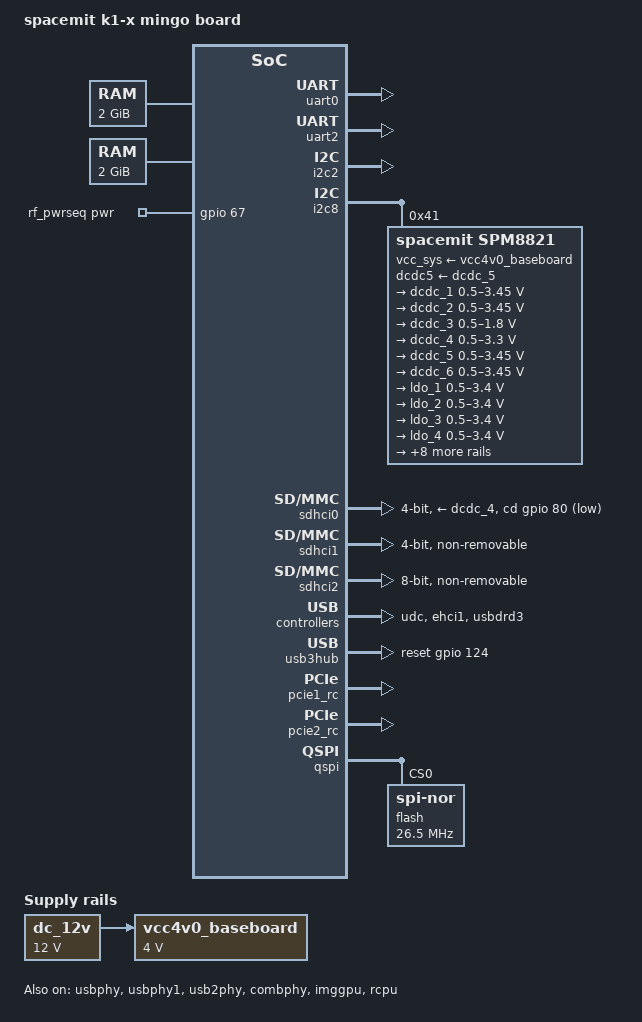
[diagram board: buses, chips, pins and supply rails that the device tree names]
// SPDX-License-Identifier: (GPL-2.0 OR MIT)
/* Copyright (c) 2023 Spacemit, Inc */

/dts-v1/;

#include "k1-x.dtsi"
#include "k1-x_pinctrl.dtsi"

/ {
	model = "spacemit k1-x mingo board";

	cpus: cpus {
		#address-cells = <1>;
		#size-cells = <0>;
		timebase-frequency = <24000000>;

		cpu_0: cpu@0 {
			cpu-ai = "true";
		};

		cpu_1: cpu@1 {
			cpu-ai = "true";
		};

		cpu_2: cpu@2 {
			reg = <2>;
			cpu-ai = "true";
		};

		cpu_3: cpu@3 {
			reg = <3>;
			cpu-ai = "true";
		};

		cpu-map {
			cluster0 {
				core0 {
					cpu = <&cpu_0>;
				};

				core1 {
					cpu = <&cpu_1>;
				};

				core2 {
					cpu = <&cpu_2>;
				};

				core3 {
					cpu = <&cpu_3>;
				};
			};

			cluster1 {
				core0 {
					cpu = <&cpu_4>;
				};

				core1 {
					cpu = <&cpu_5>;
				};

				core2 {
					cpu = <&cpu_6>;
				};

				core3 {
					cpu = <&cpu_7>;
				};
			};
		};
	};

	memory@0 {
		device_type = "memory";
		reg = <0x0 0x00000000 0x0 0x80000000>;
	};

	memory@100000000 {
		device_type = "memory";
		reg = <0x1 0x00000000 0x0 0x80000000>;
	};

	reserved-memory {
		#address-cells = <2>;
		#size-cells = <2>;
		ranges;

		linux,cma {
			compatible = "shared-dma-pool";
			/* alloc memory from 0x40000000~0x80000000 */
			alloc-ranges = <0 0x40000000 0 0x40000000>;
			/* size of cma buffer is 384MByte */
			size = <0 0x18000000>;
			/* start address is 1Mbyte aligned */
			alignment = <0x0 0x100000>;
			linux,cma-default;
			/* besides hardware, dma for ex. buffer can be used by memory management */
			reusable;
		};

		/* reserved 384K for dpu, including mmu table(256K) and cmdlist(128K) */
		dpu_resv: dpu_reserved@2ff40000 {
			compatible = "shared-dma-pool";
			reg = <0x0 0x2ff40000 0x0 0x000C0000>;
			no-map;
		};
	};

	chosen {
		bootargs = "earlycon=sbi console=ttyS0,115200n8 debug loglevel=8,initcall_debug=1 rdinit=/init";
		stdout-path = "serial0:115200n8";
	};

	dc_12v: dc-12v {
		compatible = "regulator-fixed";
		regulator-name = "dc_12v";
		regulator-always-on;
		regulator-boot-on;
		regulator-min-microvolt = <12000000>;
		regulator-max-microvolt = <12000000>;
	};

	vcc4v0_baseboard: vcc4v0-baseboard {
		compatible = "regulator-fixed";
		regulator-name = "vcc4v0_baseboard";
		regulator-always-on;
		regulator-boot-on;
		regulator-min-microvolt = <4000000>;
		regulator-max-microvolt = <4000000>;
		vin-supply = <&dc_12v>;
	};

	rf_pwrseq: rf-pwrseq {
		compatible = "spacemit,rf-pwrseq";
		//vdd-supply = <&ldo_7>;
		//vdd_voltage = <3300000>;
		io-supply = <&dcdc_3>;
		io_voltage = <1800000>;
		pwr-gpios  = <&gpio 67 0>;
		power-always-on;
		status = "okay";

		wlan_pwrseq: wlan-pwrseq {
			compatible = "spacemit,wlan-pwrseq";
			regon-gpios     = <&gpio 116 0>;
			hostwake-gpios  = <&gpio 66 0>;
		};

		bt_pwrseq: bt-pwrseq {
			compatible = "spacemit,bt-pwrseq";
			reset-gpios     = <&gpio 63 0>;
		};
	};
};

&uart0 {
	pinctrl-names = "default";
	pinctrl-0 = <&pinctrl_uart0_2>;
	status = "okay";
};

&uart2 {
	pinctrl-names = "default";
	pinctrl-0 = <&pinctrl_uart2>;
	status = "okay";
};

&i2c2 {
	pinctrl-names = "default";
	pinctrl-0 = <&pinctrl_i2c2_0>;
	status = "okay";

	eeprom@50{
		compatible = "atmel,24c02";
		reg = <0x50>;
		#address-cells = <1>;
		#size-cells = <1>;

		power-domains = <&power K1X_PMU_DUMMY_PWR_DOMAIN>;
		status = "disabled";

		mac_address0: mac_address0@0 {
			reg = <0x0 6>;
		};

		mac_address1: mac_address1@6 {
			reg = <0x6 6>;
		};
	};
};

&i2c8 {
	pinctrl-names = "default";
	pinctrl-0 = <&pinctrl_i2c8>;
	status = "okay";

	spm8821@41 {
		compatible = "spacemit,spm8821";
		reg = <0x41>;
		interrupt-parent = <&intc>;
		interrupts = <64>;
		status = "okay";

		vcc_sys-supply = <&vcc4v0_baseboard>;
		dcdc5-supply = <&dcdc_5>;

		regulators {
			compatible = "pmic,regulator,spm8821";

			/* buck */
			dcdc_1: DCDC_REG1 {
				regulator-name = "dcdc1";
				regulator-min-microvolt = <500000>;
				regulator-max-microvolt = <3450000>;
				regulator-always-on;
			};

			dcdc_2: DCDC_REG2 {
				regulator-name = "dcdc2";
				regulator-min-microvolt = <500000>;
				regulator-max-microvolt = <3450000>;
				regulator-always-on;
			};

			dcdc_3: DCDC_REG3 {
				regulator-name = "dcdc3";
				regulator-min-microvolt = <500000>;
				regulator-max-microvolt = <1800000>;
				regulator-always-on;
			};

			dcdc_4: DCDC_REG4 {
				regulator-name = "dcdc4";
				regulator-min-microvolt = <500000>;
				regulator-max-microvolt = <3300000>;
				regulator-always-on;
			};

			dcdc_5: DCDC_REG5 {
				regulator-name = "dcdc5";
				regulator-min-microvolt = <500000>;
				regulator-max-microvolt = <3450000>;
				regulator-always-on;
			};

			dcdc_6: DCDC_REG6 {
				regulator-name = "dcdc6";
				regulator-min-microvolt = <500000>;
				regulator-max-microvolt = <3450000>;
				regulator-always-on;
			};

			/* aldo */
			ldo_1: LDO_REG1 {
				regulator-name = "ldo1";
				regulator-min-microvolt = <500000>;
				regulator-max-microvolt = <3400000>;
				regulator-boot-on;
			};

			ldo_2: LDO_REG2 {
				regulator-name = "ldo2";
				regulator-min-microvolt = <500000>;
				regulator-max-microvolt = <3400000>;
			};

			ldo_3: LDO_REG3 {
				regulator-name = "ldo3";
				regulator-min-microvolt = <500000>;
				regulator-max-microvolt = <3400000>;
			};

			ldo_4: LDO_REG4 {
				regulator-name = "ldo4";
				regulator-min-microvolt = <500000>;
				regulator-max-microvolt = <3400000>;
			};

			/* dldo */
			ldo_5: LDO_REG5 {
				regulator-name = "ldo5";
				regulator-min-microvolt = <500000>;
				regulator-max-microvolt = <3400000>;
				regulator-boot-on;
			};

			ldo_6: LDO_REG6 {
				regulator-name = "ldo6";
				regulator-min-microvolt = <500000>;
				regulator-max-microvolt = <3400000>;
			};

			ldo_7: LDO_REG7 {
				regulator-name = "ldo7";
				regulator-min-microvolt = <500000>;
				regulator-max-microvolt = <3400000>;
			};

			ldo_8: LDO_REG8 {
				regulator-name = "ldo8";
				regulator-min-microvolt = <500000>;
				regulator-max-microvolt = <3400000>;
				regulator-always-on;
			};

			ldo_9: LDO_REG9 {
				regulator-name = "ldo9";
				regulator-min-microvolt = <500000>;
				regulator-max-microvolt = <3400000>;
			};

			ldo_10: LDO_REG10 {
				regulator-name = "ldo10";
				regulator-min-microvolt = <500000>;
				regulator-max-microvolt = <3400000>;
				regulator-always-on;
			};

			ldo_11: LDO_REG11 {
				regulator-name = "ldo11";
				regulator-min-microvolt = <500000>;
				regulator-max-microvolt = <3400000>;
			};

			sw_1: SWITCH_REG1 {
				regulator-name = "switch1";
			};
		};

		pmic_pinctrl: pinctrl {
			compatible = "pmic,pinctrl,spm8821";
			gpio-controller;
			#gpio-cells = <2>;
			spacemit,npins = <6>;
/**
 *			led_pins: led-pins {
 *				pins = "PIN3";
 *				function = "sleep";
 *				bias-disable = <0>;
 *				drive-open-drain = <0x1>;
 *			};
 */
		};

		pwr_key: key {
			compatible = "pmic,pwrkey,spm8821";
		};

		ext_rtc: rtc {
			compatible = "pmic,rtc,spm8821";
		};
	};
};

&pinctrl {
	pinctrl-single,gpio-range = <
		&range GPIO_49  2 (MUX_MODE0 | EDGE_NONE | PULL_UP   | PAD_3V_DS4)
		&range GPIO_58  1 (MUX_MODE0 | EDGE_NONE | PULL_UP   | PAD_1V8_DS2)
		&range GPIO_63  2 (MUX_MODE0 | EDGE_NONE | PULL_UP   | PAD_1V8_DS2)
		&range GPIO_65  1 (MUX_MODE0 | EDGE_NONE | PULL_UP   | PAD_1V8_DS2)
		&range GPIO_66  2 (MUX_MODE0 | EDGE_NONE | PULL_UP   | PAD_3V_DS4)
		&range PRI_TDI  2 (MUX_MODE1 | EDGE_NONE | PULL_UP   | PAD_1V8_DS2)
		&range PRI_TCK  1 (MUX_MODE1 | EDGE_NONE | PULL_DOWN | PAD_1V8_DS2)
		&range PRI_TDO  1 (MUX_MODE1 | EDGE_NONE | PULL_UP   | PAD_1V8_DS2)
		&range GPIO_74  1 (MUX_MODE0 | EDGE_NONE | PULL_UP   | PAD_1V8_DS2)
		&range GPIO_80  1 (MUX_MODE0 | EDGE_NONE | PULL_UP   | PAD_3V_DS4)
		&range GPIO_81  3 (MUX_MODE0 | EDGE_NONE | PULL_UP   | PAD_1V8_DS2)
		&range GPIO_90  1 (MUX_MODE0 | EDGE_NONE | PULL_DOWN | PAD_1V8_DS2)
		&range GPIO_91  2 (MUX_MODE0 | EDGE_NONE | PULL_UP   | PAD_1V8_DS2)
		&range DVL0     2 (MUX_MODE1 | EDGE_NONE | PULL_DOWN | PAD_1V8_DS2)
		&range GPIO_110 1 (MUX_MODE0 | EDGE_NONE | PULL_DOWN | PAD_1V8_DS2)
		&range GPIO_114 1 (MUX_MODE0 | EDGE_NONE | PULL_DOWN | PAD_1V8_DS2)
		&range GPIO_115 1 (MUX_MODE0 | EDGE_NONE | PULL_DOWN | PAD_1V8_DS2)
		&range GPIO_116 1 (MUX_MODE0 | EDGE_NONE | PULL_UP   | PAD_1V8_DS2)
		&range GPIO_118 1 (MUX_MODE0 | EDGE_NONE | PULL_UP   | PAD_1V8_DS2)
		&range GPIO_123 1 (MUX_MODE0 | EDGE_NONE | PULL_DOWN | PAD_1V8_DS2)
		&range GPIO_124 1 (MUX_MODE0 | EDGE_NONE | PULL_UP   | PAD_1V8_DS2)
		&range GPIO_125 3 (MUX_MODE0 | EDGE_NONE | PULL_DOWN | PAD_1V8_DS2)
	>;

	pinctrl_rcpu: pinctrl_rcpu_grp {
		pinctrl-single,pins = <
			K1X_PADCONF(GPIO_47,   MUX_MODE1, (EDGE_NONE | PULL_UP | PAD_3V_DS4))	/* r_uart0_tx */
			K1X_PADCONF(GPIO_48,   MUX_MODE1, (EDGE_NONE | PULL_UP | PAD_3V_DS4))	/* r_uart0_rx */
		>;
	};
};

&gpio{
	gpio-ranges = <
		&pinctrl 49  GPIO_49  2
		&pinctrl 58  GPIO_58  1
		&pinctrl 63  GPIO_63  5
		&pinctrl 70  PRI_TDI  4
		&pinctrl 74  GPIO_74  1
		&pinctrl 80  GPIO_80  4
		&pinctrl 90  GPIO_90  3
		&pinctrl 96  DVL0     2
		&pinctrl 110 GPIO_110 1
		&pinctrl 114 GPIO_114 3
		&pinctrl 118 GPIO_118 1
		&pinctrl 123 GPIO_123 5
	>;
};

/* SD */
&sdhci0 {
	pinctrl-names = "default","fast";
	pinctrl-0 = <&pinctrl_mmc1>;
	pinctrl-1 = <&pinctrl_mmc1_fast>;
	bus-width = <4>;
	cd-gpios = <&gpio 80 0>;
	cd-inverted;
	vmmc-supply = <&dcdc_4>;
	vqmmc-supply = <&ldo_1>;
	no-mmc;
	no-sdio;
	spacemit,sdh-host-caps-disable = <(
			MMC_CAP_UHS_SDR12 |
			MMC_CAP_UHS_SDR25
			)>;
	spacemit,sdh-quirks = <(
			SDHCI_QUIRK_BROKEN_CARD_DETECTION |
			SDHCI_QUIRK_INVERTED_WRITE_PROTECT |
			SDHCI_QUIRK_BROKEN_TIMEOUT_VAL
			)>;
	spacemit,sdh-quirks2 = <(
			SDHCI_QUIRK2_PRESET_VALUE_BROKEN |
			SDHCI_QUIRK2_BROKEN_PHY_MODULE |
			SDHCI_QUIRK2_SET_AIB_MMC
			)>;
	spacemit,aib_mmc1_io_reg = <0xD401E81C>;
	spacemit,apbc_asfar_reg = <0xD4015050>;
	spacemit,apbc_assar_reg = <0xD4015054>;
	spacemit,rx_dline_reg = <0x0>;
	spacemit,tx_dline_reg = <0x0>;
	spacemit,tx_delaycode = <0x7f>;
	spacemit,rx_tuning_limit = <50>;
	spacemit,sdh-freq = <204800000>;
	status = "okay";
};

/* SDIO */
&sdhci1 {
	pinctrl-names = "default";
	pinctrl-0 = <&pinctrl_mmc2>;
	bus-width = <4>;
	non-removable;
	vqmmc-supply = <&dcdc_3>;
	no-mmc;
	no-sd;
	keep-power-in-suspend;
	/* bcmdhd use private oob solution rather than dat1/standard wakeup */
	/delete-property/ enable-sdio-wakeup;
	spacemit,sdh-host-caps-disable = <(
			MMC_CAP_UHS_DDR50 |
			MMC_CAP_NEEDS_POLL
			)>;
	spacemit,sdh-quirks = <(
			SDHCI_QUIRK_BROKEN_CARD_DETECTION |
			SDHCI_QUIRK_BROKEN_TIMEOUT_VAL
			)>;
	spacemit,sdh-quirks2 = <(
			SDHCI_QUIRK2_PRESET_VALUE_BROKEN |
			SDHCI_QUIRK2_BROKEN_PHY_MODULE
			)>;
	spacemit,rx_dline_reg = <0x01>;
	spacemit,rx_tuning_limit = <50>;
	spacemit,sdh-freq = <204800000>;
	status = "okay";
};

/* eMMC */
&sdhci2 {
	bus-width = <8>;
	non-removable;
	mmc-hs400-1_8v;
	mmc-hs400-enhanced-strobe;
	no-sd;
	no-sdio;
	spacemit,sdh-quirks = <(
			SDHCI_QUIRK_BROKEN_CARD_DETECTION |
			SDHCI_QUIRK_BROKEN_TIMEOUT_VAL
			)>;
	spacemit,sdh-quirks2 = <(
			SDHCI_QUIRK2_PRESET_VALUE_BROKEN
			)>;
	spacemit,sdh-freq = <375000000>;
	status = "okay";
};

&usbphy {
	status = "okay";
};

&udc {
	/*spacemit,udc-mode = <MV_USB_MODE_OTG>;
	spacemit,extern-attr = <MV_USB_HAS_VBUS_IDPIN_DETECTION>;*/
	spacemit,udc-mode = <MV_USB_MODE_UDC>;
	status = "okay";
};

&usbphy1 {
	status = "okay";
};

&ehci1 {
	status = "okay";
};

&usb2phy {
	status = "okay";
};

&combphy {
	status = "okay";
};

&usb3hub {
	usb-gpios = <&gpio 97 0>;	/* gpio_97 for usb3 pwren */
	hub-gpios = <&gpio 123 0>;	/* usb3 hub en */
	reset-gpios = <&gpio 124 0>;	/* usb3 hub rst*/
	status = "okay";
};

&usbdrd3 {
	status = "okay";
	dwc3@c0a00000 {
		dr_mode = "otg";
		phy_type = "utmi";
		snps,hsphy_interface = "utmi";
		snps,dis_enblslpm_quirk;
		snps,dis-u1u2-quirk;
		snps,dis-u2-freeclk-exists-quirk;
		snps,dis-del-phy-power-chg-quirk;
		snps,dis_u2_susphy_quirk;
		snps,dis_u3_susphy_quirk;
		snps,dis_rxdet_inp3_quirk;
		snps,xhci-trb-ent-quirk;
		usb-role-switch;
		role-switch-default-mode = "peripheral";
	};
};

&pcie1_rc {
	pinctrl-names = "default";
	pinctrl-0 = <&pinctrl_pcie1_3>;
	status = "okay";
};

&pcie2_rc {
	pinctrl-names = "default";
	pinctrl-0 = <&pinctrl_pcie2_4>;
	status = "okay";
};

&imggpu {
	status = "okay";
};

&qspi {
	pinctrl-names = "default";
	pinctrl-0 = <&pinctrl_qspi>;
	status = "okay";

	flash@0 {
		compatible = "jedec,spi-nor";
		reg = <0>;
		spi-max-frequency = <26500000>;
		m25p,fast-read;
		broken-flash-reset;
		status = "okay";
	};
};

&cpu_0 {
	clst0-supply = <&dcdc_1>;
	vin-supply-names = "clst0";
};

&clst0_core_opp_table {
	opp1600000000 {
		opp-microvolt = <1050000>;
	};
};

&clst1_core_opp_table {
	opp1600000000 {
		opp-microvolt = <1050000>;
	};
};

&rcpu {
	pinctrl-names = "default";
	pinctrl-0 = <&pinctrl_rcpu>;
	mboxes = <&mailbox 0>, <&mailbox 1>;
	mbox-names = "vq0", "vq1";
	interconnects = <&dram_range0>;
	interconnect-names = "dma-mem";
	memory-region = <&rcpu_mem_0>, <&vdev0vring0>, <&vdev0vring1>, <&vdev0buffer>, <&rsc_table>, <&rcpu_mem_snapshots>;
	status = "okay";
};

&cls0_trip2 {
	temperature = <115000>;
};

&cls1_trip2 {
	temperature = <115000>;
};
